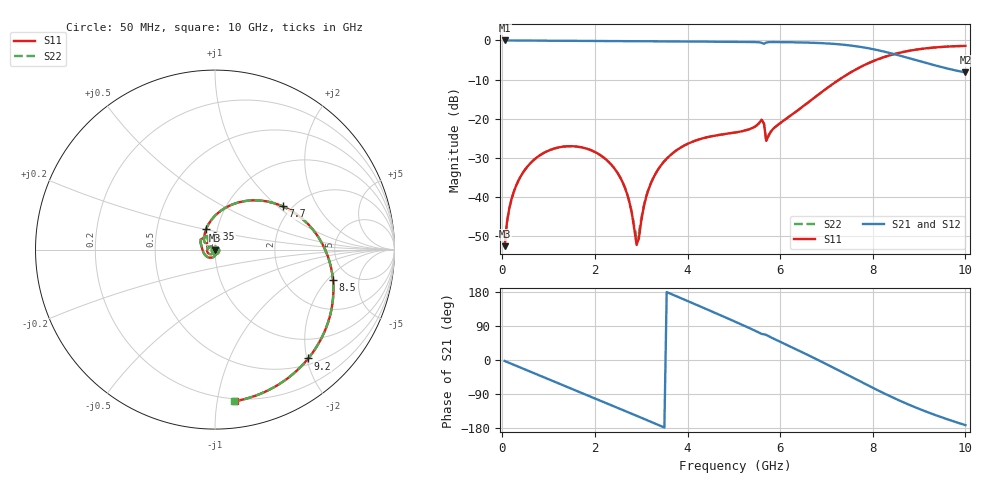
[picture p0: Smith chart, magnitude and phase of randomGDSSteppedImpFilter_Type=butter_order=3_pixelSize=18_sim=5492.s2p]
! freq	dB(S11)	phase(S11)	dB(S12)	phase(S12)
!  dB(S21)	phase(S21)	dB(S22)	phase(S22)
!S-par simulation data
#  GHz  S  DB  R 50
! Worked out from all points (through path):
!   200 points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, 50 MHz to 10 GHz, reference 50 ohm
!   highest |S21| = -0.01 dB at 50 MHz (marker M1); lowest = -8.2 dB at 10 GHz (marker M2)
!   group delay of S21, straight-line fit = 151 ps
!   lowest |S11| = -52.5 dB at 50 MHz (marker M3), VSWR 1.00, Z = 50 - j0.236 ohm
!   |S11| at or under -10 dB: start of sweep to 7.275 GHz
!   |S22| runs from -52.5 to -1.4 dB; largest |S21 - S12| = 0
!   S11 on the Smith chart (normalised r, x): 50 MHz: 1.00, -0.00; 6.35 GHz: 0.88, +0.20; 7.7 GHz: 1.79, +1.08; 8.5 GHz: 3.72, -2.30; 9.2 GHz: 0.61, -2.03; 10 GHz: 0.18, -1.12
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0.05  -52.49 -84.6  -0.01 -2.6  -0.01 -2.6  -52.50 -84.6
0.2  -40.47 -98.2  -0.02 -10.2  -0.02 -10.2  -40.48 -98.2
0.55  -32.07 -118.0  -0.04 -27.9  -0.04 -27.9  -32.08 -118.1
1.2  -27.34 -152.3  -0.08 -60.6  -0.08 -60.6  -27.34 -152.5
1.75  -27.38 179.0  -0.11 -88.4  -0.11 -88.4  -27.38 178.7
2.55  -35.04 133.4  -0.15 -129.2  -0.15 -129.2  -35.03 131.8
2.75  -41.49 114.6  -0.16 -139.4  -0.16 -139.4  -41.37 111.0
2.9  -52.18 47.6  -0.17 -147.1  -0.17 -147.1  -50.43 44.3
3.1  -40.25 -54.1  -0.19 -157.4  -0.19 -157.4  -40.08 -50.4
3.4  -32.32 -77.9  -0.22 -173.0  -0.22 -173.0  -32.29 -76.1
4.15  -25.65 -120.2  -0.28 147.9  -0.28 147.9  -25.64 -119.1
5.05  -23.45 -170.8  -0.36 99.9  -0.36 99.9  -23.45 -169.8
5.6  -20.22 144.5  -0.60 68.9  -0.60 68.9  -20.25 145.1
5.7  -25.62 132.6  -0.54 66.3  -0.54 66.3  -25.71 133.8
6.35  -18.11 113.4  -0.49 27.9  -0.49 27.9  -18.12 113.8
6.7  -14.96 92.9  -0.60 7.2  -0.60 7.2  -14.96 93.2
7.15  -11.01 66.2  -0.87 -20.3  -0.87 -20.3  -11.01 66.3
7.7  -6.99 32.7  -1.59 -54.7  -1.59 -54.7  -6.99 32.7
8.35  -3.86 -5.9  -3.15 -94.2  -3.15 -94.2  -3.86 -6.0
8.5  -3.37 -14.3  -3.61 -102.7  -3.61 -102.7  -3.37 -14.3
9.2  -1.95 -49.4  -5.90 -138.4  -5.90 -138.4  -1.95 -49.5
10  -1.39 -82.6  -8.18 -171.9  -8.18 -171.9  -1.39 -82.7
